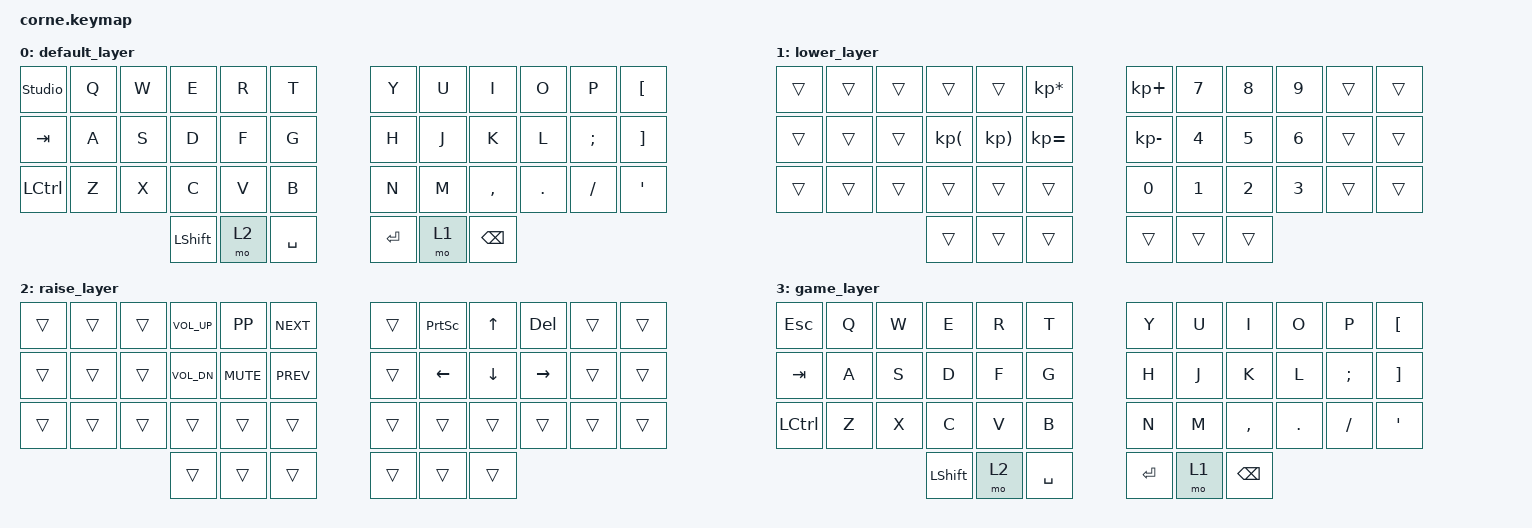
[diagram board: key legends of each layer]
/*
 * Copyright (c) 2020 The ZMK Contributors
 *
 * SPDX-License-Identifier: MIT
 */

#include <behaviors.dtsi>
#include <dt-bindings/zmk/keys.h>
#include <dt-bindings/zmk/bt.h>

/ {
        keymap {
                compatible = "zmk,keymap";

                default_layer {
//         -----------------------------------------------------------------------------------------
//         | ESC  |  Q  |  W  |  E  |  R  |  T  |             |  Y  |  U   |  I  |  O  |  P  | [ |
//         | TAB  |  A  |  S  |  D  |  F  |  G  |             |  H  |  J   |  K  |  L  |  ;  | ] |
//         | CTRL |  Z  |  X  |  C  |  V  |  B  |             |  N  |  M   |  ,  |  .  |  /  | ' |
//                           | SHFT | L2  | SPC |             | ENT |  L1  | BSPC |
                        bindings = <
   &studio_unlock    &kp Q &kp W &kp E &kp R &kp T           &kp Y &kp U  &kp I     &kp O   &kp P    &kp LBKT
   &kp TAB    &kp A &kp S &kp D &kp F &kp G           &kp H &kp J  &kp K     &kp L   &kp SEMI &kp RBKT
   &kp LCTRL  &kp Z &kp X &kp C &kp V &kp B           &kp N &kp M  &kp COMMA &kp DOT &kp FSLH &kp SQT
                    &kp LSHFT &mo 2 &kp SPC           &kp RET &mo 1 &kp BSPC
                        >;
                };
                lower_layer {
// -----------------------------------------------------------------------------------------
// |  |  |  |   |   | * |                   | + | 7 | 8 | 9 |  |  |
// |  |  |  | ( | ) | = |                   | - | 4 | 6 | 7 |  |  |
// |  |  |  |   |   |   |                   | 0 | 1 | 2 | 3 |  |  |
//          |   |   |   |                   |   |   |   |
                        bindings = <
   &trans &trans &trans &trans &trans &kp KP_MULTIPLY                 &kp KP_PLUS &kp N7 &kp N8 &kp N9 &trans &trans
   &trans &trans &trans &kp KP_LPAR &kp KP_RPAR &kp KP_EQUAL          &kp KP_MINUS &kp N4 &kp N5 &kp N6 &trans &trans
   &trans &trans &trans &trans &trans &trans                          &kp N0 &kp N1 &kp N2 &kp N3 &trans &trans
                        &trans &trans &trans                          &trans &trans &trans
                        >;
                };

                raise_layer {
// -----------------------------------------------------------------------------------------
// |  |  |  | volu | play | next |                   |  | prsc | u | del |  |  |
// |  |  |  | vold | mute | prev |                   |  |  l   | d |  r  |  |  |
// |  |  |  |      |      |      |                   |  |      |   |     |  |  |
//          |      |      |      |                   |  |      |   |
                        bindings = <
   &trans &trans &trans &kp K_VOL_UP &kp K_PP &kp K_NEXT     &trans &kp PSCRN &kp UP &kp DEL &trans &trans
   &trans &trans &trans &kp K_VOL_DN &kp K_MUTE &kp K_PREV   &trans &kp LEFT &kp DOWN &kp RIGHT &trans &trans
   &trans &trans &trans &trans &trans &trans                 &trans &trans &trans &trans &trans &trans
                        &trans &trans &trans                 &trans &trans &trans
                        >;
                };

                game_layer {

                        bindings = <
    &kp ESC   &kp Q &kp W &kp E &kp R &kp T           &kp Y &kp U  &kp I     &kp O   &kp P    &kp LBKT
    &kp TAB   &kp A &kp S &kp D &kp F &kp G           &kp H &kp J  &kp K     &kp L   &kp SEMI &kp RBKT
    &kp LCTRL &kp Z &kp X &kp C &kp V &kp B           &kp N &kp M  &kp COMMA &kp DOT &kp FSLH &kp SQT
                    &kp LSHFT &mo 2 &kp SPC           &kp RET &mo 1 &kp BSPC
                        >;
                };
        };
};
